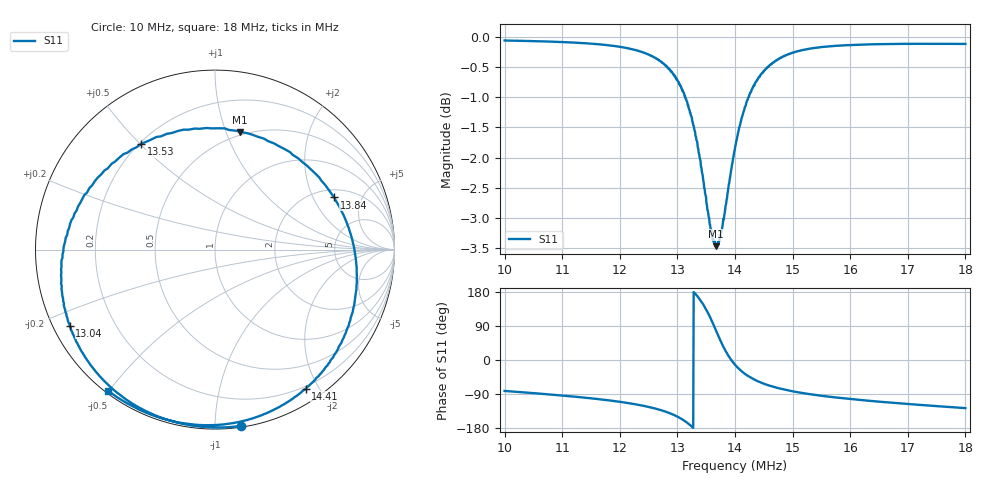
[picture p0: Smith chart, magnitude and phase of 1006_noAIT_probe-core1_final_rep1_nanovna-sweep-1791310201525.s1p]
! NanoVNA Web complex sweep
! Processing: unaveraged complex samples; linear segment spacing; no smoothing
# Hz S RI R 50
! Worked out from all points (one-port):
!   1010 points, 10 MHz to 18 MHz, reference 50 ohm
!   lowest |S11| = -3.5 dB at 13.67 MHz (marker M1), VSWR 5.07, Z = 23.6 + j56.1 ohm
!   |S11| at or under -10 dB: nowhere
!   S11 on the Smith chart (normalised r, x): 10 MHz: 0.01, -1.16; 13.04 MHz: 0.05, -0.25; 13.53 MHz: 0.21, +0.51; 13.84 MHz: 2.41, +2.95; 14.41 MHz: 0.17, -1.83; 18 MHz: 0.01, -0.50
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1e7  0.1439 -0.9826
1.100698e7  -0.0661 -0.9879
1.200604e7  -0.3427 -0.9193
1.234698e7  -0.4709 -0.8512
1.260864e7  -0.589 -0.7592
1.283065e7  -0.7037 -0.6285
1.300509e7  -0.7944 -0.4628
1.303681e7  -0.8099 -0.4238
1.317953e7  -0.8537 -0.204
1.332225e7  -0.8203 0.1037
1.342533e7  -0.6844 0.3582
1.35284e7  -0.4096 0.5898
1.36077e7  -0.1127 0.6744
1.367113e7  0.141 0.6557
1.375835e7  0.4645 0.5081
1.383764e7  0.6641 0.2904
1.391693e7  0.7638 0.0587
1.400414e7  0.7906 -0.181
1.409136e7  0.7556 -0.3817
1.418651e7  0.6884 -0.5433
1.428959e7  0.6064 -0.6707
1.440852e7  0.5044 -0.7749
1.466225e7  0.317 -0.898
1.50032e7  0.124 -0.9622
1.544722e7  -0.0567 -0.9783
1.600225e7  -0.22 -0.959
1.700131e7  -0.4338 -0.8863
1.800036e7  -0.5934 -0.7881
